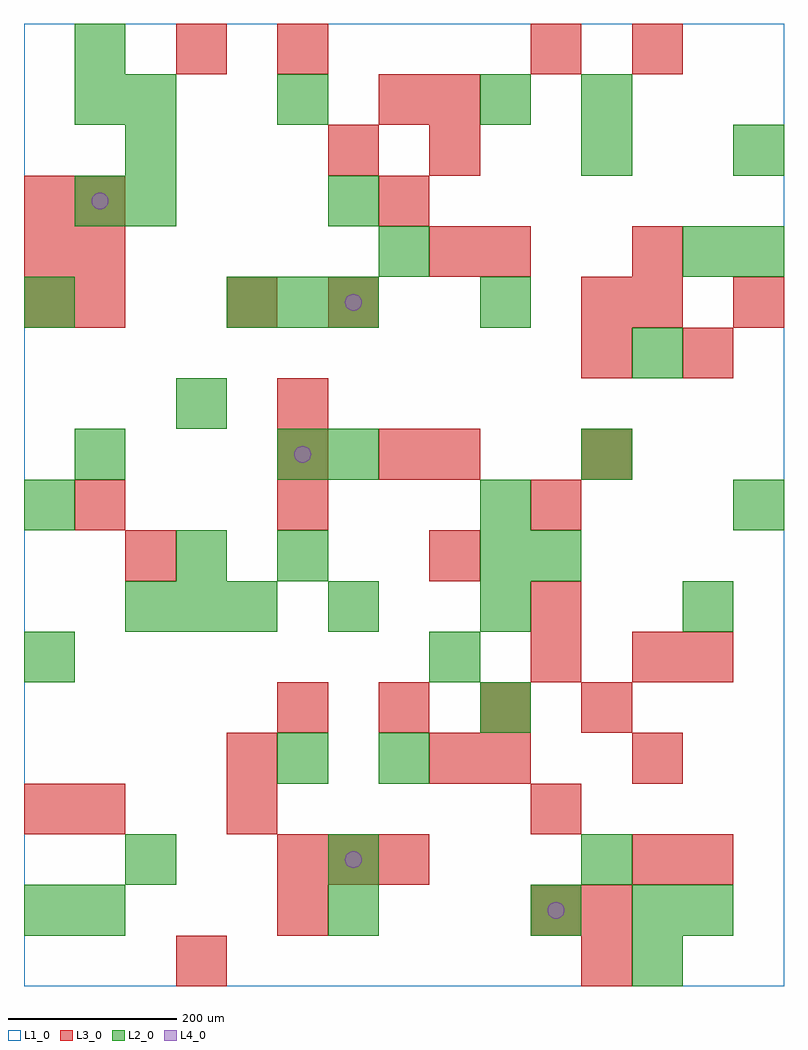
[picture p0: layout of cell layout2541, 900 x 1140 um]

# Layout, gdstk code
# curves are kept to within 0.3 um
import gdstk
lib = gdstk.Library(unit=1e-6, precision=1e-09)
def R(c, l, rs):  # rectangles x0, y0, x1, y1
    for r in rs: c.add(gdstk.rectangle(r[:2], r[2:], *l))
def A(c, l, x, y, w, h, nx, ny, dx, dy):  # array of equal rectangles
    R(c, l, [(x+i*dx, y+j*dy, x+i*dx+w, y+j*dy+h) for i in range(nx) for j in range(ny)])
def P(c, l, *ps):  # polygons
    for p in ps: c.add(gdstk.Polygon(p, *l))
L1_0 = (1, 0)
L2_0 = (2, 0)
L3_0 = (3, 0)
L4_0 = (4, 0)

layout2541 = lib.new_cell('layout2541')
R(layout2541, L1_0, [(0,0,900,1140)])
A(layout2541, L2_0, 120, 420, 60, 60, 3, 1, 60, 0)
A(layout2541, L2_0, 540, 420, 60, 60, 1, 3, 0, 60)
A(layout2541, L2_0, 240, 780, 60, 60, 3, 1, 60, 0)
A(layout2541, L2_0, 120, 900, 60, 60, 1, 3, 0, 60)
R(layout2541, L2_0, [(720,0,780,60), (0,60,60,120), (60,60,120,120), (360,60,420,120), (600,60,660,120), (720,60,780,120), (780,60,840,120), (120,120,180,180), (360,120,420,180), (660,120,720,180), (300,240,360,300), (420,240,480,300), (540,300,600,360), (0,360,60,420), (480,360,540,420), (360,420,420,480), (780,420,840,480), (180,480,240,540), (300,480,360,540), (600,480,660,540), (0,540,60,600), (840,540,900,600), (60,600,120,660), (300,600,360,660), (360,600,420,660), (660,600,720,660), (180,660,240,720), (720,720,780,780), (0,780,60,840), (540,780,600,840), (420,840,480,900), (780,840,840,900), (840,840,900,900), (60,900,120,960), (360,900,420,960), (660,960,720,1020), (840,960,900,1020), (60,1020,120,1080), (300,1020,360,1080), (540,1020,600,1080), (660,1020,720,1080), (60,1080,120,1140)])
A(layout2541, L3_0, 300, 120, 60, 60, 3, 1, 60, 0)
A(layout2541, L3_0, 720, 120, 60, 60, 1, 3, 0, 120)
A(layout2541, L3_0, 300, 300, 60, 60, 4, 1, 120, 0)
A(layout2541, L3_0, 300, 540, 60, 60, 1, 3, 0, 60)
A(layout2541, L3_0, 0, 780, 60, 60, 1, 3, 0, 60)
A(layout2541, L3_0, 60, 780, 60, 60, 1, 3, 0, 60)
R(layout2541, L3_0, [(180,0,240,60), (660,0,720,60), (300,60,360,120), (600,60,660,120), (660,60,720,120), (780,120,840,180), (0,180,60,240), (60,180,120,240), (240,180,300,240), (600,180,660,240), (240,240,300,300), (480,240,540,300), (540,240,600,300), (600,360,660,420), (780,360,840,420), (600,420,660,480), (120,480,180,540), (480,480,540,540), (60,540,120,600), (600,540,660,600), (420,600,480,660), (480,600,540,660), (660,600,720,660), (660,720,720,780), (780,720,840,780), (240,780,300,840), (360,780,420,840), (660,780,720,840), (720,780,780,840), (840,780,900,840), (480,840,540,900), (540,840,600,900), (720,840,780,900), (420,900,480,960), (360,960,420,1020), (480,960,540,1020), (420,1020,480,1080), (480,1020,540,1080), (180,1080,240,1140), (300,1080,360,1140), (600,1080,660,1140), (720,1080,780,1140)])
P(layout2541, L4_0, [(100,930),(99.239,933.827),(97.071,937.071),(93.827,939.239),(90,940),(86.173,939.239),(82.929,937.071),(80.761,933.827),(80,930),(80.761,926.173),(82.929,922.929),(86.173,920.761),(90,920),(93.827,920.761),(97.071,922.929),(99.239,926.173)],
  [(340,630),(339.239,633.827),(337.071,637.071),(333.827,639.239),(330,640),(326.173,639.239),(322.929,637.071),(320.761,633.827),(320,630),(320.761,626.173),(322.929,622.929),(326.173,620.761),(330,620),(333.827,620.761),(337.071,622.929),(339.239,626.173)],
  [(400,150),(399.239,153.827),(397.071,157.071),(393.827,159.239),(390,160),(386.173,159.239),(382.929,157.071),(380.761,153.827),(380,150),(380.761,146.173),(382.929,142.929),(386.173,140.761),(390,140),(393.827,140.761),(397.071,142.929),(399.239,146.173)],
  [(400,810),(399.239,813.827),(397.071,817.071),(393.827,819.239),(390,820),(386.173,819.239),(382.929,817.071),(380.761,813.827),(380,810),(380.761,806.173),(382.929,802.929),(386.173,800.761),(390,800),(393.827,800.761),(397.071,802.929),(399.239,806.173)],
  [(640,90),(639.239,93.827),(637.071,97.071),(633.827,99.239),(630,100),(626.173,99.239),(622.929,97.071),(620.761,93.827),(620,90),(620.761,86.173),(622.929,82.929),(626.173,80.761),(630,80),(633.827,80.761),(637.071,82.929),(639.239,86.173)])

lib.write_gds('layout2541.gds')
